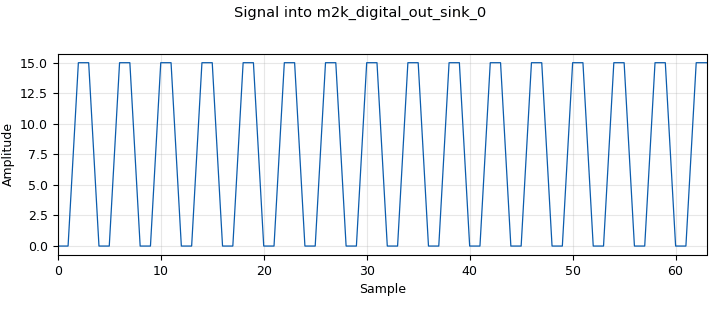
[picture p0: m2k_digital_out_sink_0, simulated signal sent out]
options:
  parameters:
    author: teo
    generate_options: qt_gui
    id: m2k_digital
    output_language: python
    title: Not titled yet
  states: {}

blocks:
- name: samp_rate
  id: variable
  parameters:
    value: '32000'
  states: {}
- name: analog_sig_source_x_0
  id: analog_sig_source_x
  parameters:
    amp: '0x000f'
    freq: '1000000'
    offset: '0'
    phase: '0'
    samp_rate: samp_rate
    type: short
    waveform: analog.GR_SQR_WAVE
  states: {}
- name: m2k_digital_out_sink_0
  id: m2k_digital_out_sink
  parameters:
    buffer_size: '32768'
    channels: '[0, 1, 2, 3]'
    cyclic: 'False'
    kernel_buffers: '4'
    sampling_frequency: '1000000'
    uri: ip:192.168.2.1
  states: {}

connections:
- [analog_sig_source_x_0, '0', m2k_digital_out_sink_0, '0']

metadata:
  file_format: 1
